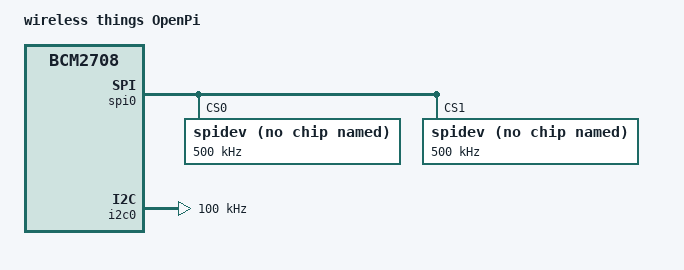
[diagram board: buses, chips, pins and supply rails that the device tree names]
/*
 * Device Tree overlay for the OpenPi by wireless thigns
 *
 */
/dts-v1/;
/plugin/;

/ {
    compatible = "brcm,bcm2708";

    fragment@0 {
        target-path = "/";
        __overlay__ {
            model = "wireless things OpenPi";
        };
    };

    fragment@1 {
        target = <&gpio>;
        __overlay__ {
            spi0_pins: spi0_pins {
                brcm,pins = <7 8 9 10 11>;
                brcm,function = <4>; /* alt0 */
            };

            i2c0_pins: i2c0 {
                brcm,pins = <0 1>;
                brcm,function = <4>;
            };

            i2c1_pins: i2c1 {
                brcm,pins = <2 3>;
                brcm,function = <4>;
            };

        };
    };

    fragment@2 {
        target = <&spi0>;
        __overlay__ {
            pinctrl-names = "default";
            pinctrl-0 = <&spi0_pins>;

            spidev@0{
                compatible = "spidev";
                reg = <0>;	/* CE0 */
                #address-cells = <1>;
                #size-cells = <0>;
                spi-max-frequency = <500000>;
            };

            spidev@1{
                compatible = "spidev";
                reg = <1>;	/* CE1 */
                #address-cells = <1>;
                #size-cells = <0>;
                spi-max-frequency = <500000>;
            };
        };
    };

    fragment@3 {
        target = <&i2c0>;
        __overlay__ {
            pinctrl-names = "default";
            pinctrl-0 = <&i2c0_pins>;
            clock-frequency = <100000>;
        };
    };

    fragment@4 {
        target = <&i2c1>;
        __overlay__ {
            pinctrl-names = "default";
            pinctrl-0 = <&i2c1_pins>;

        };
    };

	__overrides__ {
		spi = <&spi0>,"status";
		i2c0 = <&i2c0>,"status";
		i2c1 = <&i2c1>,"status";
		i2c0_baudrate = <&i2c0>,"clock-frequency:0";
		i2c1_baudrate = <&i2c1>,"clock-frequency:0";
    };

};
